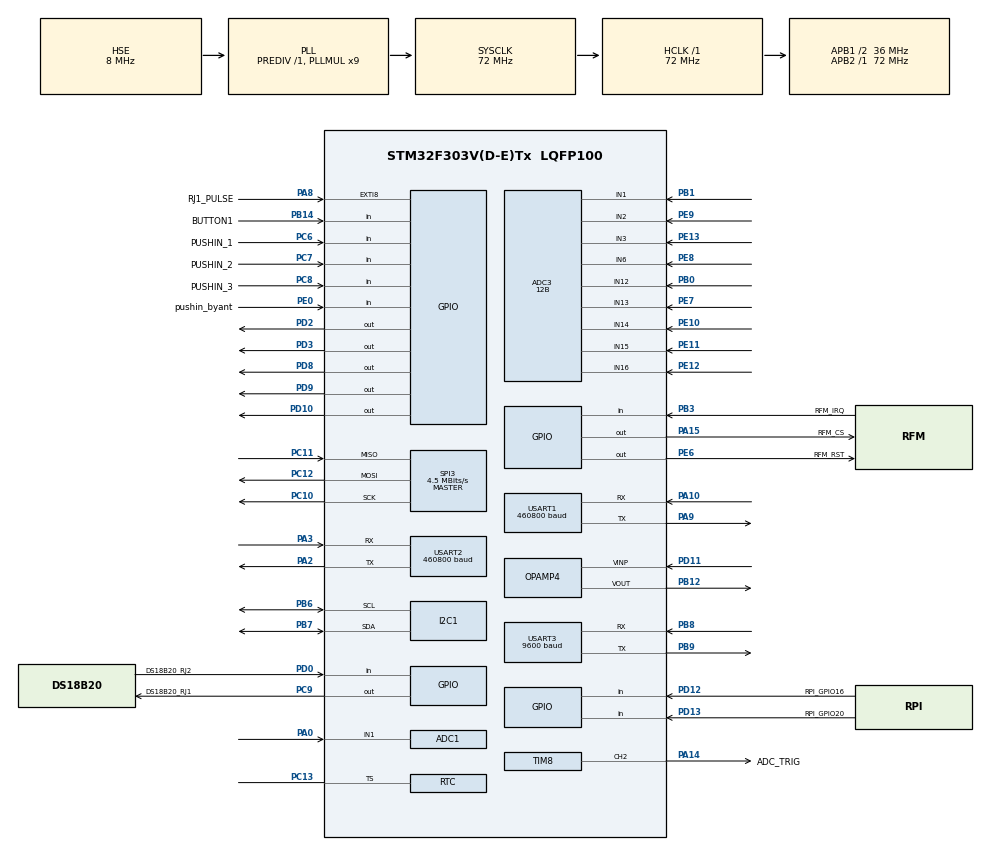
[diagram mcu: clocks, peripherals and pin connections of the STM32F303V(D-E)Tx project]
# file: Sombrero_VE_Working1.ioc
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ADC1.Channel-0\#ChannelRegularConversion=ADC_CHANNEL_1
ADC1.ClockPrescaler=ADC_CLOCK_SYNC_PCLK_DIV4
ADC1.ContinuousConvMode=ENABLE
ADC1.DMAContinuousRequests=ENABLE
ADC1.DataAlign=ADC_DATAALIGN_RIGHT
ADC1.DiscontinuousConvMode=DISABLE
ADC1.EOCSelection=ADC_EOC_SEQ_CONV
ADC1.EnableAnalogWatchDog1=false
ADC1.EnableAnalogWatchDog2=false
ADC1.EnableAnalogWatchDog3=false
ADC1.EnableInjectedConversion=DISABLE
ADC1.EnableRegularConversion=ENABLE
ADC1.ExternalTrigConv=ADC_EXTERNALTRIGCONV_T8_TRGO2
ADC1.ExternalTrigConvEdge=ADC_EXTERNALTRIGCONVEDGE_FALLING
ADC1.LowPowerAutoWait=DISABLE
ADC1.NbrOfConversion=1
ADC1.NbrOfConversionFlag=1
ADC1.Offset-0\#ChannelRegularConversion=0
ADC1.OffsetNumber-0\#ChannelRegularConversion=ADC_OFFSET_NONE
ADC1.Overrun=ADC_OVR_DATA_OVERWRITTEN
ADC1.Rank-0\#ChannelRegularConversion=1
ADC1.Resolution=ADC_RESOLUTION_12B
ADC1.SamplingTime-0\#ChannelRegularConversion=ADC_SAMPLETIME_601CYCLES_5
ADC1.ScanConvMode=ADC_SCAN_DISABLE
ADC1.master=1
ADC3.Channel-0\#ChannelRegularConversion=ADC_CHANNEL_12
ADC3.Channel-1\#ChannelRegularConversion=ADC_CHANNEL_1
ADC3.Channel-2\#ChannelRegularConversion=ADC_CHANNEL_13
ADC3.Channel-3\#ChannelRegularConversion=ADC_CHANNEL_6
ADC3.Channel-4\#ChannelRegularConversion=ADC_CHANNEL_2
ADC3.Channel-5\#ChannelRegularConversion=ADC_CHANNEL_14
ADC3.Channel-6\#ChannelRegularConversion=ADC_CHANNEL_15
ADC3.Channel-7\#ChannelRegularConversion=ADC_CHANNEL_16
ADC3.Channel-8\#ChannelRegularConversion=ADC_CHANNEL_3
ADC3.ClockPrescaler=ADC_CLOCK_SYNC_PCLK_DIV4
ADC3.ContinuousConvMode=ENABLE
ADC3.DMAContinuousRequests=ENABLE
ADC3.DataAlign=ADC_DATAALIGN_RIGHT
ADC3.DiscontinuousConvMode=DISABLE
ADC3.EOCSelection=ADC_EOC_SEQ_CONV
ADC3.EnableAnalogWatchDog1=false
ADC3.EnableAnalogWatchDog2=false
ADC3.EnableAnalogWatchDog3=false
ADC3.EnableInjectedConversion=DISABLE
ADC3.EnableRegularConversion=ENABLE
ADC3.ExternalTrigConv=ADC_EXTERNALTRIGCONV_T8_TRGO2
ADC3.ExternalTrigConvEdge=ADC_EXTERNALTRIGCONVEDGE_FALLING
ADC3.LowPowerAutoWait=DISABLE
ADC3.NbrOfConversion=9
ADC3.NbrOfConversionFlag=1
ADC3.Offset-0\#ChannelRegularConversion=0
ADC3.Offset-1\#ChannelRegularConversion=0
ADC3.Offset-2\#ChannelRegularConversion=0
ADC3.Offset-3\#ChannelRegularConversion=0
ADC3.Offset-4\#ChannelRegularConversion=0
ADC3.Offset-5\#ChannelRegularConversion=0
ADC3.Offset-6\#ChannelRegularConversion=0
ADC3.Offset-7\#ChannelRegularConversion=0
ADC3.Offset-8\#ChannelRegularConversion=0
ADC3.OffsetNumber-0\#ChannelRegularConversion=ADC_OFFSET_NONE
ADC3.OffsetNumber-1\#ChannelRegularConversion=ADC_OFFSET_NONE
ADC3.OffsetNumber-2\#ChannelRegularConversion=ADC_OFFSET_NONE
ADC3.OffsetNumber-3\#ChannelRegularConversion=ADC_OFFSET_NONE
ADC3.OffsetNumber-4\#ChannelRegularConversion=ADC_OFFSET_NONE
ADC3.OffsetNumber-5\#ChannelRegularConversion=ADC_OFFSET_NONE
ADC3.OffsetNumber-6\#ChannelRegularConversion=ADC_OFFSET_NONE
ADC3.OffsetNumber-7\#ChannelRegularConversion=ADC_OFFSET_NONE
ADC3.OffsetNumber-8\#ChannelRegularConversion=ADC_OFFSET_NONE
ADC3.Overrun=ADC_OVR_DATA_OVERWRITTEN
ADC3.Rank-0\#ChannelRegularConversion=1
ADC3.Rank-1\#ChannelRegularConversion=2
ADC3.Rank-2\#ChannelRegularConversion=3
ADC3.Rank-3\#ChannelRegularConversion=4
ADC3.Rank-4\#ChannelRegularConversion=5
ADC3.Rank-5\#ChannelRegularConversion=6
ADC3.Rank-6\#ChannelRegularConversion=7
ADC3.Rank-7\#ChannelRegularConversion=8
ADC3.Rank-8\#ChannelRegularConversion=9
ADC3.Resolution=ADC_RESOLUTION_12B
ADC3.SamplingTime-0\#ChannelRegularConversion=ADC_SAMPLETIME_601CYCLES_5
ADC3.SamplingTime-1\#ChannelRegularConversion=ADC_SAMPLETIME_601CYCLES_5
ADC3.SamplingTime-2\#ChannelRegularConversion=ADC_SAMPLETIME_601CYCLES_5
ADC3.SamplingTime-3\#ChannelRegularConversion=ADC_SAMPLETIME_601CYCLES_5
ADC3.SamplingTime-4\#ChannelRegularConversion=ADC_SAMPLETIME_601CYCLES_5
ADC3.SamplingTime-5\#ChannelRegularConversion=ADC_SAMPLETIME_601CYCLES_5
ADC3.SamplingTime-6\#ChannelRegularConversion=ADC_SAMPLETIME_601CYCLES_5
ADC3.SamplingTime-7\#ChannelRegularConversion=ADC_SAMPLETIME_601CYCLES_5
ADC3.SamplingTime-8\#ChannelRegularConversion=ADC_SAMPLETIME_601CYCLES_5
ADC3.ScanConvMode=ADC_SCAN_ENABLE
ADC3.master=1
Dma.ADC1.0.Direction=DMA_PERIPH_TO_MEMORY
Dma.ADC1.0.Instance=DMA1_Channel1
Dma.ADC1.0.MemDataAlignment=DMA_MDATAALIGN_HALFWORD
Dma.ADC1.0.MemInc=DMA_MINC_ENABLE
Dma.ADC1.0.Mode=DMA_CIRCULAR
Dma.ADC1.0.PeriphDataAlignment=DMA_PDATAALIGN_HALFWORD
Dma.ADC1.0.PeriphInc=DMA_PINC_DISABLE
Dma.ADC1.0.Priority=DMA_PRIORITY_HIGH
Dma.ADC3.1.Direction=DMA_PERIPH_TO_MEMORY
Dma.ADC3.1.Instance=DMA2_Channel5
Dma.ADC3.1.MemDataAlignment=DMA_MDATAALIGN_HALFWORD
Dma.ADC3.1.MemInc=DMA_MINC_ENABLE
Dma.ADC3.1.Mode=DMA_CIRCULAR
Dma.ADC3.1.PeriphDataAlignment=DMA_PDATAALIGN_HALFWORD
Dma.ADC3.1.PeriphInc=DMA_PINC_DISABLE
Dma.ADC3.1.Priority=DMA_PRIORITY_HIGH
Dma.Request0=ADC1
Dma.Request1=ADC3
Dma.Request2=USART1_RX
Dma.Request3=USART1_TX
Dma.Request4=USART2_RX
Dma.USART1_RX.2.Direction=DMA_PERIPH_TO_MEMORY
Dma.USART1_RX.2.Instance=DMA1_Channel5
Dma.USART1_RX.2.MemDataAlignment=DMA_MDATAALIGN_BYTE
Dma.USART1_RX.2.MemInc=DMA_MINC_ENABLE
Dma.USART1_RX.2.Mode=DMA_NORMAL
Dma.USART1_RX.2.PeriphDataAlignment=DMA_PDATAALIGN_BYTE
Dma.USART1_RX.2.PeriphInc=DMA_PINC_DISABLE
Dma.USART1_RX.2.Priority=DMA_PRIORITY_LOW
Dma.USART1_TX.3.Direction=DMA_MEMORY_TO_PERIPH
Dma.USART1_TX.3.Instance=DMA1_Channel4
Dma.USART1_TX.3.MemDataAlignment=DMA_MDATAALIGN_BYTE
Dma.USART1_TX.3.MemInc=DMA_MINC_ENABLE
Dma.USART1_TX.3.Mode=DMA_NORMAL
Dma.USART1_TX.3.PeriphDataAlignment=DMA_PDATAALIGN_BYTE
Dma.USART1_TX.3.PeriphInc=DMA_PINC_DISABLE
Dma.USART1_TX.3.Priority=DMA_PRIORITY_LOW
Dma.USART2_RX.4.Direction=DMA_PERIPH_TO_MEMORY
Dma.USART2_RX.4.Instance=DMA1_Channel6
Dma.USART2_RX.4.MemDataAlignment=DMA_MDATAALIGN_BYTE
Dma.USART2_RX.4.MemInc=DMA_MINC_ENABLE
Dma.USART2_RX.4.Mode=DMA_NORMAL
Dma.USART2_RX.4.PeriphDataAlignment=DMA_PDATAALIGN_BYTE
Dma.USART2_RX.4.PeriphInc=DMA_PINC_DISABLE
Dma.USART2_RX.4.Priority=DMA_PRIORITY_LOW
I2C1.OwnAddress=21
I2C1.Timing=0x10808DD3
Mcu.Family=STM32F3
Mcu.Name=STM32F303V(D-E)Tx
Mcu.Package=LQFP100
NVIC.ADC1_2_IRQn=true\:0\:0\:false\:false\:true\:true
NVIC.ADC3_IRQn=true\:0\:0\:false\:false\:true\:true
NVIC.DMA1_Channel1_IRQn=true\:0\:0\:false\:false\:true\:false
NVIC.DMA1_Channel4_IRQn=true\:0\:0\:false\:false\:true\:false
NVIC.DMA1_Channel5_IRQn=true\:0\:0\:false\:false\:true\:false
NVIC.DMA1_Channel6_IRQn=true\:0\:0\:false\:false\:true\:false
NVIC.DMA2_Channel5_IRQn=true\:0\:0\:false\:false\:true\:false
NVIC.EXTI9_5_IRQn=true\:0\:0\:false\:false\:true\:true
NVIC.PriorityGroup=NVIC_PRIORITYGROUP_4
NVIC.TAMP_STAMP_IRQn=true\:0\:0\:false\:false\:true\:true
NVIC.TIM1_UP_TIM16_IRQn=true\:0\:0\:false\:false\:true\:true
NVIC.USART1_IRQn=true\:0\:0\:false\:false\:true\:true
NVIC.USART2_IRQn=true\:0\:0\:false\:false\:true\:true
OPAMP4.SelfCalibration=Disable
PA0.Mode=IN1-Single-Ended
PA0.Signal=ADC1_IN1
PA10.Mode=Asynchronous
PA10.Signal=USART1_RX
PA14.GPIO_Label=ADC_TRIG
PA14.GPIO_PuPd=GPIO_NOPULL
PA14.Signal=S_TIM8_CH2
PA15.GPIO_Label=RFM_CS
PA15.GPIO_ModeDefaultOutputPP=GPIO_MODE_OUTPUT_PP
PA15.GPIO_PuPd=GPIO_NOPULL
PA15.GPIO_Speed=GPIO_SPEED_FREQ_HIGH
PA15.PinState=GPIO_PIN_SET
PA15.Signal=GPIO_Output
PA2.Mode=Asynchronous
PA2.Signal=USART2_TX
PA3.Mode=Asynchronous
PA3.Signal=USART2_RX
PA8.GPIO_Label=RJ1_PULSE
PA8.GPIO_PuPd=GPIO_PULLDOWN
PA8.Signal=GPXTI8
PA9.Mode=Asynchronous
PA9.Signal=USART1_TX
PB0.Mode=IN12-Single-Ended
PB0.Signal=ADC3_IN12
PB1.Mode=IN1-Single-Ended
PB1.Signal=ADC3_IN1
PB12.Mode=Follower
PB12.Signal=OPAMP4_VOUT
PB14.GPIO_Label=BUTTON1
PB14.Signal=GPIO_Input
PB3.GPIO_Label=RFM_IRQ
PB3.GPIO_PuPd=GPIO_NOPULL
PB3.Signal=GPIO_Input
PB6.Mode=I2C
PB6.Signal=I2C1_SCL
PB7.Mode=I2C
PB7.Signal=I2C1_SDA
PB8.Mode=Asynchronous
PB8.Signal=USART3_RX
PB9.Mode=Asynchronous
PB9.Signal=USART3_TX
PC10.Mode=Full_Duplex_Master
PC10.Signal=SPI3_SCK
PC11.Mode=Full_Duplex_Master
PC11.Signal=SPI3_MISO
PC12.Mode=Full_Duplex_Master
PC12.Signal=SPI3_MOSI
PC13.Mode=Timestamp enabled
PC13.Signal=RTC_TS
PC14-OSC32_IN.Mode=LSE-External-Oscillator
PC14-OSC32_IN.Signal=RCC_OSC32_IN
PC15-OSC32_OUT.Mode=LSE-External-Oscillator
PC15-OSC32_OUT.Signal=RCC_OSC32_OUT
PC6.GPIO_Label=PUSHIN_1
PC6.Signal=GPIO_Input
PC7.GPIO_Label=PUSHIN_2
PC7.Signal=GPIO_Input
PC8.GPIO_Label=PUSHIN_3
PC8.Signal=GPIO_Input
PC9.GPIO_Label=DS18B20_RJ1
PC9.Signal=GPIO_Output
PD0.GPIO_Label=DS18B20_RJ2
PD0.Signal=GPIO_Input
PD10.Signal=GPIO_Output
PD11.Mode=Follower
PD11.Signal=OPAMP4_VINP
PD12.GPIO_Label=RPI_GPIO16
PD12.GPIO_PuPd=GPIO_PULLDOWN
PD12.Signal=GPIO_Input
PD13.GPIO_Label=RPI_GPIO20
PD13.GPIO_PuPd=GPIO_PULLDOWN
PD13.Signal=GPIO_Input
PD2.Signal=GPIO_Output
PD3.Signal=GPIO_Output
PD8.Signal=GPIO_Output
PD9.Signal=GPIO_Output
PE0.GPIO_Label=pushin_byant
PE0.Signal=GPIO_Input
PE10.Mode=IN14-Single-Ended
PE10.Signal=ADC3_IN14
PE11.Mode=IN15-Single-Ended
PE11.Signal=ADC3_IN15
PE12.Mode=IN16-Single-Ended
PE12.Signal=ADC3_IN16
PE13.Mode=IN3-Single-Ended
PE13.Signal=ADC3_IN3
PE6.GPIO_Label=RFM_RST
PE6.PinState=GPIO_PIN_RESET
PE6.Signal=GPIO_Output
PE7.Mode=IN13-Single-Ended
PE7.Signal=ADC3_IN13
PE8.Signal=ADCx_IN6P
PE9.Mode=IN2-Single-Ended
PE9.Signal=ADC3_IN2
PF0-OSC_IN.Mode=HSE-External-Oscillator
PF0-OSC_IN.Signal=RCC_OSC_IN
PF1-OSC_OUT.Mode=HSE-External-Oscillator
PF1-OSC_OUT.Signal=RCC_OSC_OUT
ProjectManager.HeapSize=0x200
ProjectManager.StackSize=0x400
ProjectManager.TargetToolchain=Makefile
RCC.AHBFreq_Value=72000000
RCC.APB1CLKDivider=RCC_HCLK_DIV2
RCC.APB1Freq_Value=36000000
RCC.APB1TimFreq_Value=72000000
RCC.APB2Freq_Value=72000000
RCC.APB2TimFreq_Value=72000000
RCC.CortexFreq_Value=72000000
RCC.HCLKFreq_Value=72000000
RCC.HSE_VALUE=8000000
RCC.HSI_VALUE=8000000
RCC.I2c1ClockSelection=RCC_I2C1CLKSOURCE_SYSCLK
RCC.PLLMUL=RCC_PLL_MUL9
RCC.PLLSourceVirtual=RCC_PLLSOURCE_HSE
RCC.PRESCALERUSB=RCC_USBCLKSOURCE_PLL_DIV1_5
RCC.RTCClockSelection=RCC_RTCCLKSOURCE_LSE
RCC.SYSCLKFreq_VALUE=72000000
RCC.SYSCLKSourceVirtual=RCC_SYSCLKSOURCE_PLLCLK
RCC.USBFreq_Value=48000000
RCC.Uart4ClockSelection=RCC_UART4CLKSOURCE_SYSCLK
RCC.Usart1ClockSelection=RCC_USART1CLKSOURCE_SYSCLK
RCC.Usart2ClockSelection=RCC_USART2CLKSOURCE_SYSCLK
RCC.Usart3ClockSelection=RCC_USART3CLKSOURCE_SYSCLK
RTC.Date=10
RTC.Hours=18
RTC.Month=RTC_MONTH_FEBRUARY
RTC.Year=20
SH.ADCx_IN6P.0=ADC3_IN6,IN6-Single-Ended
SH.S_TIM8_CH2.0=TIM8_CH2,PWM Generation2 CH2
SPI3.BaudRatePrescaler=SPI_BAUDRATEPRESCALER_8
SPI3.CalculateBaudRate=4.5 MBits/s
SPI3.DataSize=SPI_DATASIZE_8BIT
SPI3.Direction=SPI_DIRECTION_2LINES
SPI3.Mode=SPI_MODE_MASTER
SPI3.VirtualType=VM_MASTER
TIM16.AutoReloadPreload=TIM_AUTORELOAD_PRELOAD_DISABLE
TIM16.Period=9999
TIM16.Prescaler=710
TIM17.Period=9999
TIM17.Prescaler=710
TIM8.Channel-PWM\ Generation2\ CH2=TIM_CHANNEL_2
TIM8.OCFastMode_PWM-PWM\ Generation2\ CH2=TIM_OCFAST_DISABLE
TIM8.Period=9999
TIM8.Prescaler=71
TIM8.TIM_MasterOutputTrigger2=TIM_TRGO2_OC2REF
USART1.BaudRate=460800
USART1.DMADisableonRxErrorParam=ADVFEATURE_DMA_DISABLEONRXERROR
USART1.VirtualMode-Asynchronous=VM_ASYNC
USART2.BaudRate=460800
USART2.DMADisableonRxErrorParam=ADVFEATURE_DMA_DISABLEONRXERROR
USART2.VirtualMode-Asynchronous=VM_ASYNC
USART3.BaudRate=9600
USART3.VirtualMode-Asynchronous=VM_ASYNC
VP_RTC_VS_RTC_Activate.Mode=RTC_Enabled
VP_RTC_VS_RTC_Calendar.Mode=RTC_Calendar
VP_TIM16_VS_ClockSourceINT.Mode=Enable_Timer
VP_TIM16_VS_OPM.Mode=OPM_bit
VP_TIM17_VS_ClockSourceINT.Mode=Enable_Timer
VP_TIM17_VS_OPM.Mode=OPM_bit
board=custom

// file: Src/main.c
/**
  ******************************************************************************
  * @file           : main.c
  * @brief          : Main program body
  ******************************************************************************
  ** This notice applies to any and all portions of this file
  * that are not between comment pairs USER CODE BEGIN and
  * USER CODE END. Other portions of this file, whether
  * inserted by the user or by software development tools
  * are owned by their respective copyright owners.
  *
  * COPYRIGHT(c) 2020 STMicroelectronics
  *
  * Redistribution and use in source and binary forms, with or without modification,
  * are permitted provided that the following conditions are met:
  *   1. Redistributions of source code must retain the above copyright notice,
  *      this list of conditions and the following disclaimer.
  *   2. Redistributions in binary form must reproduce the above copyright notice,
  *      this list of conditions and the following disclaimer in the documentation
  *      and/or other materials provided with the distribution.
  *   3. Neither the name of STMicroelectronics nor the names of its contributors
  *      may be used to endorse or promote products derived from this software
  *      without specific prior written permission.
  *
  * THIS SOFTWARE IS PROVIDED BY THE COPYRIGHT HOLDERS AND CONTRIBUTORS "AS IS"
  * AND ANY EXPRESS OR IMPLIED WARRANTIES, INCLUDING, BUT NOT LIMITED TO, THE
  * IMPLIED WARRANTIES OF MERCHANTABILITY AND FITNESS FOR A PARTICULAR PURPOSE ARE
  * DISCLAIMED. IN NO EVENT SHALL THE COPYRIGHT HOLDER OR CONTRIBUTORS BE LIABLE
  * FOR ANY DIRECT, INDIRECT, INCIDENTAL, SPECIAL, EXEMPLARY, OR CONSEQUENTIAL
  * DAMAGES (INCLUDING, BUT NOT LIMITED TO, PROCUREMENT OF SUBSTITUTE GOODS OR
  * SERVICES; LOSS OF USE, DATA, OR PROFITS; OR BUSINESS INTERRUPTION) HOWEVER
  * CAUSED AND ON ANY THEORY OF LIABILITY, WHETHER IN CONTRACT, STRICT LIABILITY,
  * OR TORT (INCLUDING NEGLIGENCE OR OTHERWISE) ARISING IN ANY WAY OUT OF THE USE
  * OF THIS SOFTWARE, EVEN IF ADVISED OF THE POSSIBILITY OF SUCH DAMAGE.
  *
  ******************************************************************************
  */
#include "main.h"
#include "stm32f3xx_hal.h"
#include "adc.h"
#include "dma.h"
#include "i2c.h"
#include "opamp.h"
#include "rtc.h"
#include "spi.h"
#include "tim.h"
#include "usart.h"
#include "gpio.h"

/* USER CODE BEGIN Includes */
#include <math.h>
#include <string.h>
#include <stdbool.h>
#include "jsmn.h"
#include "RFM69.h"
#include "RFM69_ext.h"
//#include "ds18b20.h"
/* USER CODE END Includes */

/* USER CODE BEGIN PV */
/* Private variables ---------------------------------------------------------*/

//--------
// MODES
//--------
// 0 = Standalone
// 1 = rPi
int mode = 1; // for testing.

//--------
// ADC
//--------
#define MID_ADC_READING 2048
uint32_t posting_interval = 5000; // millis to post data at.
bool readings_ready = false;
bool readings_requested = false;
bool first_readings = false;
float V_RATIO;
float I_RATIO;
extern uint16_t const adc_buff_half_size;
const float adc_conversion_time = (614.0*(1.0/(72000000.0/4))); // time in seconds for an ADC conversion, for estimating mains AC frequency.
uint32_t hz_begin = 0;
uint32_t hz_end = 0;
bool have_hz = 0;
float mains_frequency;
double Wh_accumulator[CTn];
//bool Vclipped; // unlikely?
bool hz_last_positive_V;
bool hz_positive_V;
bool hunt_PF;

//--------
// ISR accumulators
//--------
typedef struct channel_
{
  int64_t sum_P;
  uint64_t sum_V_sq;
  uint64_t sum_I_sq;
  int64_t sum_V;
  int64_t sum_I;
  uint32_t count;
  uint32_t cycles;
  int phase_shift;
  bool positive_V;
  bool last_positive_V;
  bool Iclipped;
} channel_t; // data struct per CT channel, stm32 only does 32-bit struct items, anything else gets padded out to 32-bit automatically by

static channel_t channels[CTn];
static channel_t channels_ready[CTn];
bool channel_rdy_bools[CTn] = {0};

//----------------
// CALIBRATION
//----------------
const float VOLTS_PER_DIV = (3.3 / 4096.0);
//float VCAL = 266.1238757156; // note - single-phase proto board
//float VCAL = 224.4135906687; // note - 3-phase proto board
float VCAL = 236.660160908; // dan's 2nd hand ac-ac adaptor
float ICAL = 90.9;

//------------------------
// UART SERIAL BUFFERS
//------------------------
extern char log_buffer[];
char rx_string[COMMAND_BUFFER_SIZE];
char string_buffer[300];
char readings_rdy_buffer[1000];

//--------
// RADIO
//--------
bool radio_send = 0; // set to 1 to send test data with RFM69.
uint16_t networkID = 210; // a.k.a. Network Group
uint8_t nodeID = 10; // this node's ID (address).
uint16_t freqBand = 433; // MHz
uint8_t toAddress = 1; // destination address.
bool requestACK = false; // untested.
char encryptkey[20] = {'\0'}; // twenty character encrypt key, or  '\0'  for nothing.
//char encryptkey[20] = "asdfasdfasdfasdf"; // twenty character encrypt key, or  '\0'  for nothing.
typedef struct {
  uint32_t nodeId;
  uint32_t uptime;
  //float temperature;   // other data
} Payload;
Payload radioData;

//--------
// Time variables
//--------
uint32_t current_millis;
uint32_t previous_millis;

//--------
// MISC
//--------
uint32_t pulseCount = 0;

/* USER CODE END PV */

void SystemClock_Config(void);

/* USER CODE BEGIN PFP */
/* Private function prototypes -----------------------------------------------*/

/* USER CODE END PFP */

/* USER CODE BEGIN 0 */
float Vrms;
float Irms;
float realPower;
float apparentPower;
float powerFactor;

//----------------------------------
// Calculate Power Data
//----------------------------------
void calcPower (int ch)
{
  channel_t *chn = &channels_ready[ch];

  float Vmean = (float)chn->sum_V / (float)chn->count;
  float Imean = (float)chn->sum_I / (float)chn->count;

  float f32sum_V_sq_avg = (float)chn->sum_V_sq / (float)chn->count;
  f32sum_V_sq_avg -= (Vmean * Vmean); // offset removal

  float f32sum_I_sq_avg = (float)chn->sum_I_sq / (float)chn->count;
  f32sum_I_sq_avg -= (Imean * Imean); // offset removal

  if (f32sum_V_sq_avg < 0) f32sum_V_sq_avg = 0; // if offset removal cause a negative number
  if (f32sum_I_sq_avg < 0) f32sum_I_sq_avg = 0; // make it 0 to avoid a nan at sqrt.

  float Vrms = V_RATIO * sqrtf(f32sum_V_sq_avg);
  float Irms = I_RATIO * sqrtf(f32sum_I_sq_avg);

  float f32_sum_P_avg = (float)chn->sum_P / (float)chn->count;
  float mean_P = f32_sum_P_avg - (Vmean * Imean); // offset removal

  realPower = V_RATIO * I_RATIO * mean_P;
  apparentPower = Vrms * Irms;

  // calculate PF, is it necessary to prevent dividing by zero error?
  if (apparentPower != 0) { powerFactor = realPower / apparentPower; }
  else powerFactor = 0;

  Wh_accumulator[ch] += (Vrms * Irms * (posting_interval / 3600000.0));
}

bool phase_corrector;
bool phase_corrector_channel[CTn];
int phase_corrections[CTn];
void process_frame (uint16_t offset)
{
  HAL_GPIO_WritePin(GPIOD, GPIO_PIN_10, GPIO_PIN_SET); // blink the led

  int16_t sample_V, sample_I, signed_V, signed_I;

  for (int i = 0; i < adc_buff_half_size; i += CTn) // CTn = CT channel quanity.
  {

    //----------------------------------------
    // Frequency
    //----------------------------------------
    if (!have_hz) {
      sample_V = adc1_dma_buff[offset + i];
      signed_V = sample_V - MID_ADC_READING;
      hz_last_positive_V = hz_positive_V;
      if (signed_V >= 0) hz_positive_V = true;
      else hz_positive_V = false;
      if (!hz_last_positive_V && hz_positive_V) { // looking out for a upwards-zero crossing.
        if (!hz_begin) { hz_begin = i; }
        else if (!hz_end) {
          hz_end = i;
          uint32_t hz_diff = hz_end - hz_begin;
          mains_frequency = 1.0 / (hz_diff * adc_conversion_time);
          have_hz = true;
        }
        else {
          __NOP();
        }
      }
    }

    //----------------------------------------
    // Power
    //----------------------------------------
    // Cycle through channels, accumulating
    for (int ch = 0; ch < CTn; ch++)
    {
      channel_t *channel = &channels[ch];
      //----------------------------------------
      // Voltage
      sample_V = adc1_dma_buff[offset + i + ch];
      //if (sample_V == 4095) Vclipped = true; // unlikely
      signed_V = sample_V - MID_ADC_READING;
      channel->sum_V += signed_V;
      channel->sum_V_sq += signed_V * signed_V;
      //----------------------------------------
      // Current
      sample_I = adc3_dma_buff[offset + i + ch + phase_corrections[ch]];
      if (sample_I == 4095) channel->Iclipped = true; // much more likely, useful safety information.
      signed_I = sample_I - MID_ADC_READING; // mid-rail removal possible through ADC4, option for future perhaps.
      channel->sum_I += signed_I;
      channel->sum_I_sq += signed_I * signed_I;
      //----------------------------------------
      // Power
      channel->sum_P += signed_V * signed_I;

      channel->count++;

      // upwards-zero-crossing detection, whole waveforms.
      channel->last_positive_V = channel->positive_V; // retrieve the previous value. 'cycles' count bug possibly to do with initialisation of this bool as false;
      if (signed_V >= 5) { channel->positive_V = true; } // changed > to >= . not important as MID_ADC_READING 2048 not accurate anyway.
      else if (signed_V <= -5) { channel->positive_V = false; } // hysteresis to mitigate noisey cycle counting.
      //--------------------------------------------------
      //--------------------------------------------------
      if (!channel->last_positive_V && channel->positive_V) { // looking out for a upwards-zero crossing.
        //----------------------------------------
        channel->cycles++; // rather than count cycles for readings_ready, better to have the main loop ask for them.
        // there appears to be a bug in the cycle counting. more cycles counted than should be, 250 expected for a 5000millis interval, up to 260 output at readings_ready.
        if (readings_requested && !channel_rdy_bools[ch]) { // if readings are needed by the main loop and channel is not ready.
          channel_t *channel_ready = &channels_ready[ch];
          // copy accumulators for use in main loop.
          memcpy ((void*)channel_ready, (void*)channel, sizeof(channel_t));
          // reset accumulators to zero.
          memset((void*)channel, 0, sizeof(channel_t));
          // set channel_ready for the channel.
          channel_rdy_bools[ch] = true;
          // are all the channels ready?
          int chn_ready_count = 0;
          for (int j = 0; j < CTn; j++) {
            if (channel_rdy_bools[j]) chn_ready_count++;
          }
          if (chn_ready_count == CTn) { readings_ready = true; readings_requested = false; }    // if all the channels are ready
          /* // test waveform sync. printed result should go from 1 to 9.
          sprintf(log_buffer, "test1:%d\r\n", chn_ready_count);
          debug_printf(log_buffer);
          log_buffer[0] = '\0';
          */
        }
      }
      //--------------------------------------------------
      //--------------------------------------------------
    }
  }
  hz_begin = 0;
  hz_end = 0;
  HAL_GPIO_WritePin(GPIOD, GPIO_PIN_10, GPIO_PIN_RESET);
}

/* USER CODE END 0 */

int main(void)
{
  /* USER CODE BEGIN 1 */
  V_RATIO = VCAL * VOLTS_PER_DIV;
  I_RATIO = ICAL * VOLTS_PER_DIV;
  /* USER CODE END 1 */

  /* MCU Configuration----------------------------------------------------------*/

  /* Reset of all peripherals, Initializes the Flash interface and the Systick. */
  HAL_Init();

  /* Configure the system clock */
  SystemClock_Config();

  /* Initialize all configured peripherals */
  MX_GPIO_Init();
  MX_DMA_Init();
  MX_USART2_UART_Init();
  MX_OPAMP4_Init();
  MX_ADC3_Init();
  MX_TIM8_Init();
  MX_ADC1_Init();
  MX_USART1_UART_Init();
  MX_SPI3_Init();
  MX_TIM16_Init();
  MX_TIM17_Init();
  MX_USART3_UART_Init();
  MX_I2C1_Init();
  MX_RTC_Init();
  /* USER CODE BEGIN 2 */

  debug_printf("\r\n\r\nstart, connect VT\r\n");

  // is the rPi Connected?
  if (HAL_GPIO_ReadPin(RPI_GPIO16_GPIO_Port, RPI_GPIO16_Pin) == 1 && HAL_GPIO_ReadPin(RPI_GPIO20_GPIO_Port, RPI_GPIO20_Pin) == 1)
  {
    debug_printf("rPi connected!\r\n");
    mode = 1;
  }
  //------------------------
  // RADIO begin
  //------------------------
  RFM69_RST();
  HAL_Delay(10);
  if (RFM69_initialize(freqBand, nodeID, networkID))
  {
    sprintf(log_buffer, "RFM69 Initialized. Freq %dMHz. Node %d. Group %d.\r\n", freqBand, nodeID, networkID);
    //debug_printf(log_buffer);
    //RFM69_readAllRegs(); // debugging
  }
  else
  {
    debug_printf("RFM69 not connected.\r\n");
  }
  if (encryptkey[0] != '\0') // if we have a encryption key, radio encryption will be set.
  {
    RFM69_encrypt(encryptkey);
  }

  //------------------------
  // ADC BEGIN
  //------------------------
  HAL_ADCEx_Calibration_Start(&hadc1, ADC_SINGLE_ENDED);
  HAL_ADCEx_Calibration_Start(&hadc3, ADC_SINGLE_ENDED);
  HAL_OPAMP_Start(&hopamp4);
  HAL_Delay(2);
  start_ADCs();

  //init_ds18b20s();

  //------------------------
  // UART DMA RX BEGIN
  //------------------------
  __HAL_UART_ENABLE_IT(&huart1, UART_IT_IDLE);
  HAL_UART_Receive_DMA(&huart1, rx_buff, sizeof(rx_buff));
  __HAL_UART_ENABLE_IT(&huart2, UART_IT_IDLE);
  HAL_UART_Receive_DMA(&huart2, rx_buff, sizeof(rx_buff));

  /* USER CODE END 2 */

  /* Infinite loop */
  /* USER CODE BEGIN WHILE */
  while (1)
  {
    //process_ds18b20s();

    current_millis = HAL_GetTick();
    //------------------------
    // Interval for posting primary data.
    //------------------------
    if (current_millis - previous_millis >= posting_interval) {
      uint32_t correction = current_millis - previous_millis - posting_interval;
      previous_millis = current_millis - correction;
      readings_requested = true;
      //sprintf(log_buffer, "timecheck\r\n");
    }

    //------------------------
    // USART RX check
    //------------------------
    if (usart1_rx_flag)
    {
      usart1_rx_flag = 0;
      memcpy(rx_string, rx_buff, sizeof(rx_buff));
      memset(rx_buff, 0, sizeof(rx_buff));
      huart1.hdmarx->Instance->CCR &= ~DMA_CCR_EN;
      huart1.hdmarx->Instance->CNDTR = sizeof(rx_buff);
      huart1.hdmarx->Instance->CCR |= DMA_CCR_EN;
      rPi_printf("STM32:"); // respond to command with "STM32:" prefix.
      json_parser(rx_string); // the actual response is posted from json_parser() result;
      //sprintf(log_buffer, "uartRxDebug:%s\r\n", rx_string);
    }
    if (usart2_rx_flag)
    {
      usart2_rx_flag = 0;
      memcpy(rx_string, rx_buff, sizeof(rx_buff));
      memset(rx_buff, 0, sizeof(rx_buff));
      huart2.hdmarx->Instance->CCR &= ~DMA_CCR_EN;
      huart2.hdmarx->Instance->CNDTR = sizeof(rx_buff);
      huart2.hdmarx->Instance->CCR |= DMA_CCR_EN;
      rPi_printf("STM32:"); // respond to command with "STM32:" prefix.
      json_parser(rx_string); // the actual response is posted from json_parser() result;

      //(!strcmp(select, "boot_reason"))
      //sprintf(log_buffer, "uartRxDebug:%s\r\n", rx_string);
      //rPi_printf(log_buffer);
      //rPi_printf("baker_street:100:D:doodoodooo:80085\r\n");
    }

    //------------------------
    // ADC DMA buffer flags. Process Frames.
    //------------------------
    if (conv_hfcplt_flag)
    {
      conv_hfcplt_flag = false;
      process_frame(0); // process 1st half of buffer.
    }
    if (conv_cplt_flag)
    {
      conv_cplt_flag = false;
      process_frame(adc_buff_half_size); // process 2nd half of buffer.
    }
    // HAL_Delay(200); // ADC buffer overrun flag test.

    //------------------------------------------------
    // Check to post primary data.
    //------------------------------------------------
    if (readings_ready)
    {
      readings_ready = false; memset(channel_rdy_bools, 0, sizeof(channel_rdy_bools)); // clear flags.
      if (!first_readings) { first_readings = true; goto EndJump; } // discard the first set as beginning of 1st waveform not tracked.

      HAL_GPIO_WritePin(GPIOD, GPIO_PIN_9, GPIO_PIN_SET); // blink the led

      sprintf(readings_rdy_buffer, "STM:1.0,"); // initital write to buffer.

      for (int ch = 0; ch < CTn; ch++)
      {
        channel_t *chn = &channels_ready[ch];

        calcPower(ch); // combined power calcs.

        int _ch = ch + 1; // nicer looking channel numbers. 1 starts at 1 instead of 0.
        if (mode == 1) {
          sprintf(string_buffer, "V%d:%.2f,I%d:%.3f,RP%d:%.1f,PF%d:%.3f,Wh%d:%.3f,Clip%d:%d,cycles%d:%ld,samples%d:%ld,", _ch, Vrms, _ch, Irms, _ch, realPower, _ch, powerFactor, _ch, Wh_accumulator[ch], _ch, chn->Iclipped, _ch, chn->cycles, _ch, chn->count);
          strcat(readings_rdy_buffer, string_buffer);
        }
        //Vclipped = false;
      }

      // Main frequency estimate.
      if (mains_frequency > 40 && mains_frequency < 70) { // prevents spurious data.
        sprintf(string_buffer, "Hz_estimate:%.1f,", mains_frequency);
        if (mode == 1) strcat(readings_rdy_buffer, string_buffer);
        mains_frequency = 0; have_hz = false; // reset
      }
      // Millis
      sprintf(string_buffer, "millis:%ld,", current_millis);
      if (mode == 1) strcat(readings_rdy_buffer, string_buffer);
      // Pulsecount
      sprintf(string_buffer, "PC:%ld", pulseCount);
      if (mode == 1) strcat(readings_rdy_buffer, string_buffer);
      // has the adc buffer overrun?
      sprintf(string_buffer, ",buffOverrun:%d", overrun_adc_buffer);
      overrun_adc_buffer = 0; // reset
      if (mode == 1) strcat(readings_rdy_buffer, string_buffer);

      // close the string
      if (mode == 1) strcat(readings_rdy_buffer, "\r\n");

      // RFM69 send.
      if (radio_send) // sending data, test data only.
      {
        radioData.nodeId = nodeID;
        radioData.uptime = HAL_GetTick();
        HAL_GPIO_WritePin(GPIOD, GPIO_PIN_8, 1);
        HAL_TIM_Base_Start_IT(&htim16); // LED blink
        RFM69_send(toAddress, (const void *)(&radioData), sizeof(radioData), requestACK);
        //RFM69_sendWithRetry(toAddress, (const void *)(&radioData), sizeof(radioData), 3,20);
      }

      HAL_GPIO_WritePin(GPIOD, GPIO_PIN_9, GPIO_PIN_RESET);

    } EndJump: // end main readings_ready function.

    //-------------------------------
    // RFM69 receive
    //-------------------------------
    if (RFM69_ReadDIO0Pin()) {
      debug_printf("RFM69 DIO0 high.\r\n");
      RFM69_interruptHandler();
    }
    if (RFM69_receiveDone()) {
      HAL_GPIO_WritePin(GPIOD, GPIO_PIN_8, 1); // LED blink
      HAL_TIM_Base_Start_IT(&htim16); // LED blink, interrupt based.
      // debug output below.
      debug_printf("RFM69 payload received.\r\n");
      PrintRawBytes();
      PrintStruct();
      PrintByteByByte();
    }

    //-------------------------------
    // Print anything in log_buffer to serial.
    //-------------------------------
    if (log_buffer[0] != '\0') { // null terminated strings!
      rPi_printf(log_buffer);
      log_buffer[0] = '\0'; // set index of string to null to effectively delete the string.
      // https://stackoverflow.com/questions/632846/clearing-a-char-array-c
    }
    if (readings_rdy_buffer[0] != '\0') {
      rPi_printf(readings_rdy_buffer);
      readings_rdy_buffer[0] = '\0';
    }

  /* USER CODE END WHILE */

  }
}

void SystemClock_Config(void)
{

  RCC_OscInitTypeDef RCC_OscInitStruct;
  RCC_ClkInitTypeDef RCC_ClkInitStruct;
  RCC_PeriphCLKInitTypeDef PeriphClkInit;

    /**Configure LSE Drive Capability
    */
  HAL_PWR_EnableBkUpAccess();

  __HAL_RCC_LSEDRIVE_CONFIG(RCC_LSEDRIVE_LOW);

    /**Initializes the CPU, AHB and APB busses clocks
    */
  RCC_OscInitStruct.OscillatorType = RCC_OSCILLATORTYPE_HSE|RCC_OSCILLATORTYPE_LSE;
  RCC_OscInitStruct.HSEState = RCC_HSE_ON;
  RCC_OscInitStruct.LSEState = RCC_LSE_ON;
  RCC_OscInitStruct.HSIState = RCC_HSI_ON;
  RCC_OscInitStruct.PLL.PLLState = RCC_PLL_ON;
  RCC_OscInitStruct.PLL.PLLSource = RCC_PLLSOURCE_HSE;
  RCC_OscInitStruct.PLL.PLLMUL = RCC_PLL_MUL9;
  RCC_OscInitStruct.PLL.PREDIV = RCC_PREDIV_DIV1;
  if (HAL_RCC_OscConfig(&RCC_OscInitStruct) != HAL_OK)
  {
    _Error_Handler(__FILE__, __LINE__);
  }

    /**Initializes the CPU, AHB and APB busses clocks
    */
  RCC_ClkInitStruct.ClockType = RCC_CLOCKTYPE_HCLK|RCC_CLOCKTYPE_SYSCLK
                              |RCC_CLOCKTYPE_PCLK1|RCC_CLOCKTYPE_PCLK2;
  RCC_ClkInitStruct.SYSCLKSource = RCC_SYSCLKSOURCE_PLLCLK;
  RCC_ClkInitStruct.AHBCLKDivider = RCC_SYSCLK_DIV1;
  RCC_ClkInitStruct.APB1CLKDivider = RCC_HCLK_DIV2;
  RCC_ClkInitStruct.APB2CLKDivider = RCC_HCLK_DIV1;

  if (HAL_RCC_ClockConfig(&RCC_ClkInitStruct, FLASH_LATENCY_2) != HAL_OK)
  {
    _Error_Handler(__FILE__, __LINE__);
  }

  PeriphClkInit.PeriphClockSelection = RCC_PERIPHCLK_USART1|RCC_PERIPHCLK_USART2
                              |RCC_PERIPHCLK_USART3|RCC_PERIPHCLK_I2C1
                              |RCC_PERIPHCLK_RTC|RCC_PERIPHCLK_TIM16
                              |RCC_PERIPHCLK_TIM17|RCC_PERIPHCLK_TIM8;
  PeriphClkInit.Usart1ClockSelection = RCC_USART1CLKSOURCE_SYSCLK;
  PeriphClkInit.Usart2ClockSelection = RCC_USART2CLKSOURCE_SYSCLK;
  PeriphClkInit.Usart3ClockSelection = RCC_USART3CLKSOURCE_SYSCLK;
  PeriphClkInit.I2c1ClockSelection = RCC_I2C1CLKSOURCE_SYSCLK;
  PeriphClkInit.RTCClockSelection = RCC_RTCCLKSOURCE_LSE;
  PeriphClkInit.Tim16ClockSelection = RCC_TIM16CLK_HCLK;
  PeriphClkInit.Tim17ClockSelection = RCC_TIM17CLK_HCLK;
  PeriphClkInit.Tim8ClockSelection = RCC_TIM8CLK_HCLK;
  if (HAL_RCCEx_PeriphCLKConfig(&PeriphClkInit) != HAL_OK)
  {
    _Error_Handler(__FILE__, __LINE__);
  }

    /**Configure the Systick interrupt time
    */
  HAL_SYSTICK_Config(HAL_RCC_GetHCLKFreq()/1000);

    /**Configure the Systick
    */
  HAL_SYSTICK_CLKSourceConfig(SYSTICK_CLKSOURCE_HCLK);

  /* SysTick_IRQn interrupt configuration */
  HAL_NVIC_SetPriority(SysTick_IRQn, 0, 0);
}

/* USER CODE BEGIN 4 */
void HAL_GPIO_EXTI_Callback (uint16_t GPIO_Pin) {
  if (GPIO_Pin == RJ1_PULSE_Pin) {
    debug_printf("pulse!\r\n");
    pulseCount++;
  }
}
/* USER CODE END 4 */

void _Error_Handler(char *file, int line)
{
  /* USER CODE BEGIN Error_Handler_Debug */
  /* User can add his own implementation to report the HAL error return state */
  while (1)
  {
    sprintf(log_buffer, "sys_error:%s,line:%d\r\n", file, line);
    //debug_printf(log_buffer);
  }
  /* USER CODE END Error_Handler_Debug */
}

/************************ (C) COPYRIGHT STMicroelectronics *****END OF FILE****/
